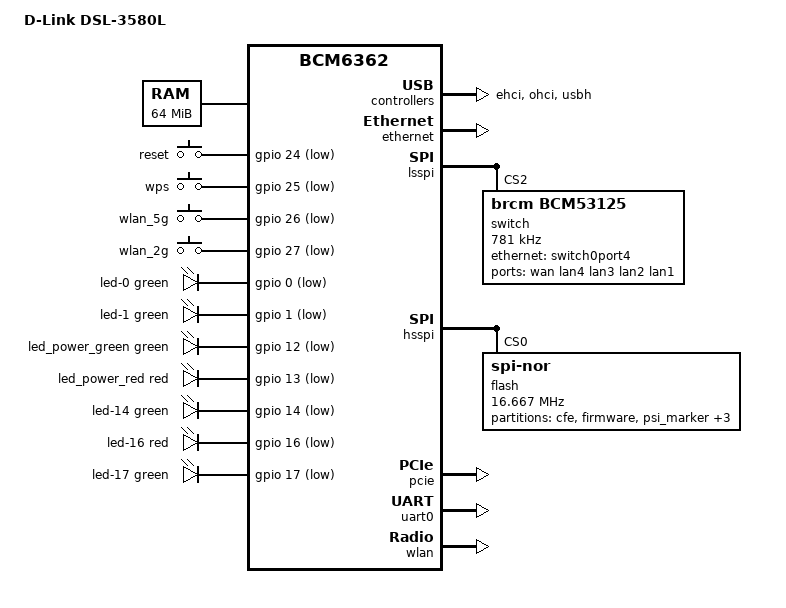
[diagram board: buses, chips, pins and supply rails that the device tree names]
// SPDX-License-Identifier: GPL-2.0-or-later

#include "bcm6362.dtsi"

#include <dt-bindings/input/input.h>
#include <dt-bindings/interrupt-controller/irq.h>
#include <dt-bindings/leds/common.h>

/ {
	model = "D-Link DSL-3580L";
	compatible = "dlink,dsl-3580l", "brcm,bcm6362";

	aliases {
		led-boot = &led_power_green;
		led-failsafe = &led_power_red;
		led-running = &led_power_green;
		led-upgrade = &led_power_green;
	};

	/* 64 MB DDR */
	memory@0 {
		device_type = "memory";
		reg = <0x00000000 0x04000000>;
	};

	keys {
		compatible = "gpio-keys";

		/*
		 * The four front-panel buttons of the DSL-3580L are wired to
		 * the four GPIO pads that the SoC also exposes as the
		 * ext_irq0..3 alternate function inputs of the external
		 * interrupt controller (brcm,bcm6345-ext-intc).
		 */

		reset {
			label = "reset";
			gpios = <&gpio 24 GPIO_ACTIVE_LOW>;
			interrupt-parent = <&ext_intc>;
			interrupts = <0 IRQ_TYPE_EDGE_BOTH>;
			linux,code = <KEY_RESTART>;
			debounce-interval = <60>;
		};

		wps {
			label = "wps";
			gpios = <&gpio 25 GPIO_ACTIVE_LOW>;
			interrupt-parent = <&ext_intc>;
			interrupts = <1 IRQ_TYPE_EDGE_BOTH>;
			linux,code = <KEY_WPS_BUTTON>;
			debounce-interval = <60>;
		};

		wlan_5g {
			label = "wlan_5g";
			gpios = <&gpio 26 GPIO_ACTIVE_LOW>;
			interrupt-parent = <&ext_intc>;
			interrupts = <2 IRQ_TYPE_EDGE_BOTH>;
			linux,code = <KEY_RFKILL>;
			debounce-interval = <60>;
		};

		wlan_2g {
			label = "wlan_2g";
			gpios = <&gpio 27 GPIO_ACTIVE_LOW>;
			interrupt-parent = <&ext_intc>;
			interrupts = <3 IRQ_TYPE_EDGE_BOTH>;
			linux,code = <KEY_WLAN>;
			debounce-interval = <60>;
		};
	};

	leds {
		compatible = "gpio-leds";

		/*
		 * Lo stock CFE muxa GPIO 0 sulla funzione hardware
		 * "usb_device_led" del SoC (vedi BP_GPIO_FUNC nei
		 * boardparms). Qui lo trattiamo come GPIO normale,
		 * perdiamo l'auto-blink hardware ma OpenWrt puo' usare
		 * il trigger usbport.
		 */
		led-0 {
			function = LED_FUNCTION_USB;
			color = <LED_COLOR_ID_GREEN>;
			gpios = <&gpio 0 GPIO_ACTIVE_LOW>;
			trigger-sources = <&ehci_port1>, <&ohci_port1>;
			linux,default-trigger = "usbport";
		};

		led-1 {
			function = LED_FUNCTION_WPS;
			color = <LED_COLOR_ID_GREEN>;
			gpios = <&gpio 1 GPIO_ACTIVE_LOW>;
		};

		led_power_green: led-12 {
			function = LED_FUNCTION_POWER;
			color = <LED_COLOR_ID_GREEN>;
			gpios = <&gpio 12 GPIO_ACTIVE_LOW>;
		};

		led_power_red: led-13 {
			function = LED_FUNCTION_POWER;
			color = <LED_COLOR_ID_RED>;
			gpios = <&gpio 13 GPIO_ACTIVE_LOW>;
			panic-indicator;
		};

		led-14 {
			function = "dsl";
			color = <LED_COLOR_ID_GREEN>;
			gpios = <&gpio 14 GPIO_ACTIVE_LOW>;
		};

		led-16 {
			function = LED_FUNCTION_WAN;
			color = <LED_COLOR_ID_RED>;
			gpios = <&gpio 16 GPIO_ACTIVE_LOW>;
		};

		led-17 {
			function = LED_FUNCTION_WAN;
			color = <LED_COLOR_ID_GREEN>;
			gpios = <&gpio 17 GPIO_ACTIVE_LOW>;
		};
	};

	/*
	 * SPROM fallback per il radio 2.4 GHz integrato nel BCM6362
	 * (chip 14e4:435f). Si parte dal blob canonico
	 * `brcm/bcm6362-sprom.bin` fornito dal pacchetto
	 * `broadcom-6362-sprom` (repo openwrt/broadcom-sprom) e si
	 * applicano i fixup board-specific via brcm,sprom-fixups.
	 *
	 * Il radio integrato non e' su PCIe — sta sul backplane bcma
	 * AXI/OCP del SoC, esposto dal driver bcm6362-wlan-shim
	 * (vedi nodo &wlan in bcm6362.dtsi). Il match della SPROM
	 * avviene per phandle (bcma-bus = <&wlan>), non per
	 * pci-bus/pci-dev. Vedi l'estensione SoC in
	 * target/linux/generic/files/drivers/bcma/fallback-sprom.c.
	 *
	 * Fixup applicati (38 word, ricavate via diff_sprom.py
	 * confrontando il dump `wl srdump` della DSL-3580L con il
	 * blob canonico):
	 *
	 *  - 0x30 (dev_id): il blob canonico ha 0x4354 ma lo stock
	 *    OEM presenta deviceid 0x435f al wireless stack; b43
	 *    conosce 0x435f (BCM6362) in main.c:5328. Sotto il
	 *    vecchio path fake-PCI il config space sintetico
	 *    hard-codava 0x435f e b43 lo leggeva da li' senza
	 *    passare per la SPROM; sotto bcma host-soc b43 legge
	 *    bus_sprom->dev_id e serve riallineare via fixup.
	 *  - 0x60..0x7e: calibrazioni PA chain 0/1 per banda 2.4 e
	 *    5 GHz (questo chip aveva la PHY dual-band anche se la
	 *    DSL-3580L usa solo la 2.4 GHz; i coefficienti restano
	 *    quelli del silicio della board).
	 *  - 0xa0..0xb0: power offset MCS/CCK/OFDM per modulazioni.
	 */
	bcm6362-sprom {
		compatible = "brcm,bcma-sprom";

		bcma-bus = <&wlan>;

		nvmem-cells = <&macaddr_cfe_6a0 1>;
		nvmem-cell-names = "mac-address";

		brcm,sprom = "brcm/bcm6362-sprom.bin";
		brcm,sprom-fixups =
			/* dev_id override */
			<0x30 0x435f>,
			/* PA chain 0/1, banda 2.4 GHz */
			<0x60 0x204a>, <0x61 0xff71>, <0x62 0x1740>, <0x63 0xfb17>,
			<0x66 0xfe35>, <0x67 0x10cf>, <0x68 0xfb89>,
			<0x69 0xfeac>, <0x6a 0x12dd>, <0x6b 0xfb7f>,
			<0x6c 0xfe4a>, <0x6d 0x10fe>, <0x6e 0xfb95>,
			/* PA chain 0/1, banda 5 GHz (PHY dual-band) */
			<0x70 0x204a>, <0x71 0xff81>, <0x72 0x1784>, <0x73 0xfb1b>,
			<0x76 0xfedc>, <0x77 0x1246>, <0x78 0xfbc4>,
			<0x79 0xff44>, <0x7a 0x135b>, <0x7b 0xfbfd>,
			<0x7c 0xfebb>, <0x7d 0x127b>, <0x7e 0xfba3>,
			/* power offset MCS/CCK/OFDM */
			<0xa0 0x0000>, <0xa1 0x4444>, <0xa2 0x4444>,
			<0xa9 0x6666>, <0xaa 0x6666>, <0xab 0x6666>,
			<0xac 0x6666>, <0xad 0x6666>, <0xae 0x6666>,
			<0xaf 0x6666>, <0xb0 0x6666>;
	};

	/*
	 * SPROM fallback per il radio 5 GHz BCM4352 (chip 14e4:43b3)
	 * su PCIe.
	 *
	 * Il BCM4352 e' di fatto un BCM4360 con due delle quattro
	 * chain RF disabilitate (configurazione 2x2 invece di 3x3/4x4)
	 * per binning di yield: stesso die, stessa PHY, stesso layout
	 * OTP e quindi stessa struttura SROM rev 11. Il driver
	 * proprietario `wl` non spedisce un fallback dedicato per il
	 * 4352 proprio per questo motivo — usa il template del 4360.
	 * Adottiamo qui la stessa strategia: blob canonico
	 * `brcm/bcm4360-sprom.bin` dal pacchetto `broadcom-4360-sprom`
	 * + 35 brcm,sprom-fixups board-specific.
	 *
	 * Topologia PCI sotto OpenWrt mainline: il BCM4352 e' l'unico
	 * device su PCIe (controller pcie-bcm6328); il radio integrato
	 * NON e' enumerato come PCI ma come device bcma sul SoC
	 * backplane (vedi bcm6362-sprom sopra).
	 *
	 *   bus 0:00.0  [14e4:6362]  PCIe Root Port (pcie-bcm6328)
	 *   bus 1:00.0  [14e4:43b3]  BCM4352 (5 GHz)              <- questo nodo
	 *
	 * Fixup applicati (35 word, ricavate via diff_sprom.py
	 * confrontando il dump del 4352 della DSL-3580L con il blob
	 * canonico bcm4360-sprom.bin):
	 *
	 *  - 0x02: board revision.
	 *  - 0x30: dev_id 0x43a2 (4360) -> 0x43b3 (4352).
	 *  - 0x48..0x4a: board flags / option flags.
	 *  - 0x50, 0x54: chain mask / antenna avail — qui si
	 *    disabilitano le due chain extra del 4360 (e' la
	 *    differenza 2x2 vs 3x3/4x4 di cui sopra).
	 *  - 0x68..0x6a: power info per i core 2/3 azzerati
	 *    (chain disabilitate).
	 *  - 0x74..0x93: PA chain 0/1 calibration per banda 5G L/H,
	 *    board-specific.
	 *  - 0xe9: ultima word = CRC + sromrev; la rev 0x0b
	 *    coincide, il CRC non viene comunque verificato dal
	 *    path fallback-sprom (vedi sprom_extract() in
	 *    target/linux/generic/files/drivers/bcma/fallback-sprom.c).
	 *
	 * Dipendenza kernel: la patch SROM rev 11 (estrattore
	 * `bcma_sprom_extract_r11` + estensione di `struct ssb_sprom`
	 * con i campi rev-11-only) deve essere applicata sul kernel
	 * di OpenWrt. Vedi target/linux/bmips/patches-6.12/
	 * 801-ssb-bcma-firmware-SROM-revision-11-support.patch.
	 */
	bcm4352-sprom {
		compatible = "brcm,bcma-sprom";

		pci-bus = <1>;
		pci-dev = <0>;

		nvmem-cells = <&macaddr_cfe_6a0 2>;
		nvmem-cell-names = "mac-address";

		brcm,sprom = "brcm/bcm4360-sprom.bin";
		brcm,sprom-fixups =
			<0x02 0x0668>,
			/* dev_id 4360 -> 4352 */
			<0x30 0x43b3>,
			/* board flags */
			<0x48 0x0090>, <0x49 0x4c0d>, <0x4a 0xdb00>,
			/* chain mask 4x4 -> 2x2 + antenna avail */
			<0x50 0x0300>, <0x54 0x0033>,
			/* power info core 2/3 disabled */
			<0x68 0x0000>, <0x69 0x0000>, <0x6a 0x0000>,
			/* PA chain 0/1, banda 5G L */
			<0x74 0xff4d>, <0x75 0x1690>, <0x76 0xfd24>,
			<0x77 0xff59>, <0x78 0x1710>, <0x79 0xfd28>,
			<0x7a 0xff52>, <0x7b 0x16fd>, <0x7c 0xfd27>,
			<0x7d 0xff55>, <0x7e 0x1711>, <0x7f 0xfd20>,
			/* PA chain 0/1, banda 5G H */
			<0x88 0xff3f>, <0x89 0x1607>, <0x8a 0xfd1f>,
			<0x8b 0xff42>, <0x8c 0x1690>, <0x8d 0xfd21>,
			<0x8e 0xff55>, <0x8f 0x1772>, <0x90 0xfd1e>,
			<0x91 0xff5d>, <0x92 0x178d>, <0x93 0xfd1e>,
			/* sromrev word (CRC sara' diverso ma non viene
			 * validato dal path fallback-sprom; il byte basso
			 * 0x0b == rev 11 coincide col template) */
			<0xe9 0x2f0b>;
	};
};

&ehci {
	status = "okay";

	#address-cells = <1>;
	#size-cells = <0>;

	ehci_port1: port@1 {
		reg = <1>;
		#trigger-source-cells = <0>;
	};
};

&ethernet {
	status = "okay";

	nvmem-cells = <&macaddr_cfe_6a0 0>;
	nvmem-cell-names = "mac-address";
};

/*
 * lsspi CS=2 (boardparms: BP_OVERLAY_SPI_SSB2_EXT_CS + BP_ENET_CONFIG_SPI_SSB_2).
 *
 * labels for boardparms:
 *   port 0  -> eth0  -> WAN
 *   port 1  -> eth4  -> LAN4
 *   port 2  -> eth3  -> LAN3
 *   port 3  -> eth2  -> LAN2
 *   port 4  -> eth1  -> LAN1
 */
&lsspi {
	status = "okay";

	pinctrl-names = "default";
	pinctrl-0 = <&pinctrl_spi_cs2>;

	switch@2 {
		compatible = "brcm,bcm53125";
		reg = <2>;
		spi-max-frequency = <781000>;

		dsa,member = <1 0>;

		ports {
			#address-cells = <1>;
			#size-cells = <0>;

			port@0 {
				reg = <0>;
				label = "wan";
			};

			port@1 {
				reg = <1>;
				label = "lan4";
			};

			port@2 {
				reg = <2>;
				label = "lan3";
			};

			port@3 {
				reg = <3>;
				label = "lan2";
			};

			port@4 {
				reg = <4>;
				label = "lan1";
			};

			port@8 {
				reg = <8>;

				phy-mode = "rgmii-id";
				ethernet = <&switch0port4>;

				fixed-link {
					speed = <1000>;
					full-duplex;
				};
			};
		};
	};
};

/*
 * Flash SPI-NOR MX25L128 16 MB single-bank. No dual boot
 */
&hsspi {
	status = "okay";

	flash@0 {
		compatible = "jedec,spi-nor";
		reg = <0>;
		spi-max-frequency = <16666667>;
		spi-tx-bus-width = <2>;
		spi-rx-bus-width = <2>;

		partitions {
			compatible = "fixed-partitions";
			#address-cells = <1>;
			#size-cells = <1>;

			partition@0 {
				reg = <0x000000 0x010000>;
				label = "cfe";
				read-only;

				nvmem-layout {
					compatible = "fixed-layout";
					#address-cells = <1>;
					#size-cells = <1>;

					/*
					 * Offset MAC base 0x6a0 is default
					 * in Broadcom CFE
					 *
					 *   base + 0  ->  D8:FE:E3:E2:A1:3C
					 *                 LAN/bridge (bcmsw, br0,
					 *                 eth1..eth4 lato switch)
					 *   base + 1  ->  D8:FE:E3:E2:A1:3D
					 *                 wl0 (2.4 GHz N-PHY)
					 *   base + 2  ->  D8:FE:E3:E2:A1:3E
					 *                 wl1 (5 GHz AC-PHY)
					 *   base + 3  ->  D8:FE:E3:E2:A1:3F
					 *                 WAN dedicato (eth0)
					 */
					macaddr_cfe_6a0: macaddr@6a0 {
						compatible = "mac-base";
						reg = <0x6a0 0x6>;
						#nvmem-cell-cells = <1>;
					};
				};
			};

			/*
			 * 7.5 MB rootfs + 1.4 MB kernel,
			 * rootfs first in the original firmware.
			 */
			partition@10000 {
				compatible = "brcm,bcm963xx-imagetag";
				reg = <0x010000 0x8b0000>;
				label = "firmware";
			};

			/*
			 * psi_marker: 0x8c0000 - 0x8d0000 (64 KiB).
			 * 13 byte filled near the start
			 * (35 ea 91 b4 92 23 be 73 98 e4 bd 5a 9a),
			 * followed by erased blocks
			 * Read-only just because.
			 */
			partition@8c0000 {
				reg = <0x8c0000 0x010000>;
				label = "psi_marker";
				read-only;
			};

			/*
			 * scratch: 0x8e0000 - 0xff0000.
			 * Erased blocks (0xff) in stock flash.
			 */
			partition@8e0000 {
				reg = <0x8e0000 0x710000>;
				label = "scratch";
			};
			/*
			 * nvram_pad: 0xff0000 - 0xff8000 (32 KiB).
			 * Tre settori erased subito prima della NVRAM
			 * Broadcom. Probabilmente padding lasciato dal
			 * tool di flash factory per allineare la NVRAM
			 * a un confine di blocco. Read-only per
			 * conservativismo: non sappiamo se l'OEM lo
			 * usi per scratch interno tra reboot.
			 */
			partition@ff0000 {
				reg = <0xff0000 0x008000>;
				label = "nvram_pad";
				read-only;
			};

			/*
			 * nvram: 0xff8000 - 0x1000000 (32 KiB).
			 * NVRAM Broadcom PSI (Persistent Storage Image),
			 * magic "gOGoBrCm" + "BLP0" header. Contiene la
			 * configurazione utente OEM compressa LZW
			 * (snmp_state, tr69c_acsState, ecc.) con CRC32.
			 * Indipendente dalla struct NVRAM_DATA embedded
			 * in CFE a offset 0x580 (da cui prendiamo il MAC):
			 * questa qui e' configurazione runtime utente,
			 * quella in CFE e' factory-set.
			 *
			 * Read-only: alterarla non brick-a il device ma
			 * confonde lo stock se mai si vuole tornare al
			 * firmware originale.
			 */
			partition@ff8000 {
				reg = <0xff8000 0x008000>;
				label = "nvram";
				read-only;
			};
		};
	};
};

/*
 * Cascading DSA. Sul BCM6362 il path RGMII out passa attraverso
 * port@4 dello switch interno (RoboSwitch su 0x10e00000), come
 * confermato dal boardparms OEM Broadcom per "DSL-3580":
 *
 *     {bp_ulPortMap,  .u.ul = 0x10},                   // solo port@4
 *     {bp_ulPhyId4,   .u.ul = RGMII_DIRECT|EXTSW_CONNECTED},
 *
 * Schema:
 *   PC -- LAN N -- [BCM53125 esterno] -- port@8 RGMII --
 *   port@4 RGMII -- [&switch0 interno] -- port@8 internal --
 *   [&ethernet GMAC] -- eth0
 *
 * Due DSA tree con un solo conduit (eth0): tree 0 = switch interno,
 * tree 1 = 53125 esterno ancorato a &switch0port4. Stesso schema
 * dell'HG253S-V2 in mainline OpenWrt che condivide il SoC.
 *
 * Storia dei tentativi precedenti su questo blocco:
 *
 * 1) &switch0 attivo + 53125 ancorato a &ethernet:
 *    sysfs: cannot create duplicate filename '.../eth0/dsa'
 *    b53-switch 10e00000.switch: probe ... failed with error -17
 *    Notifier penzolanti dopo il rollback fallito di
 *    dsa_register_switch -> kernel panic ("Reserved instruction",
 *    PC nello heap) al primo netdev event.
 *
 * 2) &switch0 status="disabled":
 *    Niente panic, ma rx_packets di eth0 fermo a 0 anche con PHY
 *    in link sulle porte LAN: il path RGMII passa da uno switch
 *    spento, i frame non raggiungono mai il GMAC.
 */
&switch0 {
	dsa,member = <0 0>;

	ports {
		switch0port4: port@4 {
			reg = <4>;
			label = "extsw";

			phy-mode = "rgmii-id";

			fixed-link {
				speed = <1000>;
				full-duplex;
			};
		};
	};
};

&ohci {
	status = "okay";

	#address-cells = <1>;
	#size-cells = <0>;

	ohci_port1: port@1 {
		reg = <1>;
		#trigger-source-cells = <0>;
	};
};

/*
 * PCIe interno abilitato. Sulla DSL-3580L vivono due device:
 *   - radio 2.4 GHz integrato del BCM6362 (chip 14e4:435f) sul
 *     primo bus dietro il bridge interno
 *   - radio 5 GHz BCM4352 (chip 14e4:43b3) su un secondo bus
 *     dietro lo stesso bridge
 * Vedi i due nodi `bcm{6362,4352}-sprom` sopra.
 *
 * La finestra PCIe nel bcm6362.dtsi default e' 1 MB
 * (0x10f00000-0x10ffffff), sufficiente per i radio b43 vecchi
 * tipici delle altre board bmips. Il BCM4352 ha BAR2 da 2 MB
 * (memoria condivisa AC-PHY) che non c'entra in 1 MB:
 *
 *   pci 0000:01:00.0: BAR 2 [mem size 0x00200000 64bit]:
 *     can't assign; no space
 *
 * Il driver bcm6328-pcie programma BAR0_BASEMASK e
 * BAR0_REBASE_ADDR partendo da `ranges` con granularita' 1 MB
 * (vedi pcie-bcm6328.c, righe ~278-287), quindi qualunque
 * dimensione che mettiamo qui viene programmata in HW. La
 * mappa SoC del BCM6362 non ha periferiche oltre 0x10e50000,
 * quindi possiamo allargare a 4 MB (0x10f00000-0x112fffff)
 * senza conflitti.
 *
 * 4 MB > 2 MB BAR2 + bridge overhead, con margine se in futuro
 * subentrano altri device PCIe.
 */
&pcie {
	status = "okay";

	ranges = <0x02000000 0 0x10f00000  0x10f00000  0 0x00400000>;
};

&uart0 {
	status = "okay";
};

&usbh {
	status = "okay";
};

/*
 * Radio 2.4 GHz integrato del BCM6362 (14e4:435f).
 *
 * Esposto via bcm6362-wlan-shim sul SoC backplane bcma, NON via
 * PCI. La SPROM viene servita da bcm6362-sprom sopra, matchato
 * per phandle (bcma-bus = <&wlan>). Vedi commenti dettagliati
 * sulla bring-up sequence e topologia in bcm6362.dtsi.
 */
&wlan {
	status = "okay";
};
